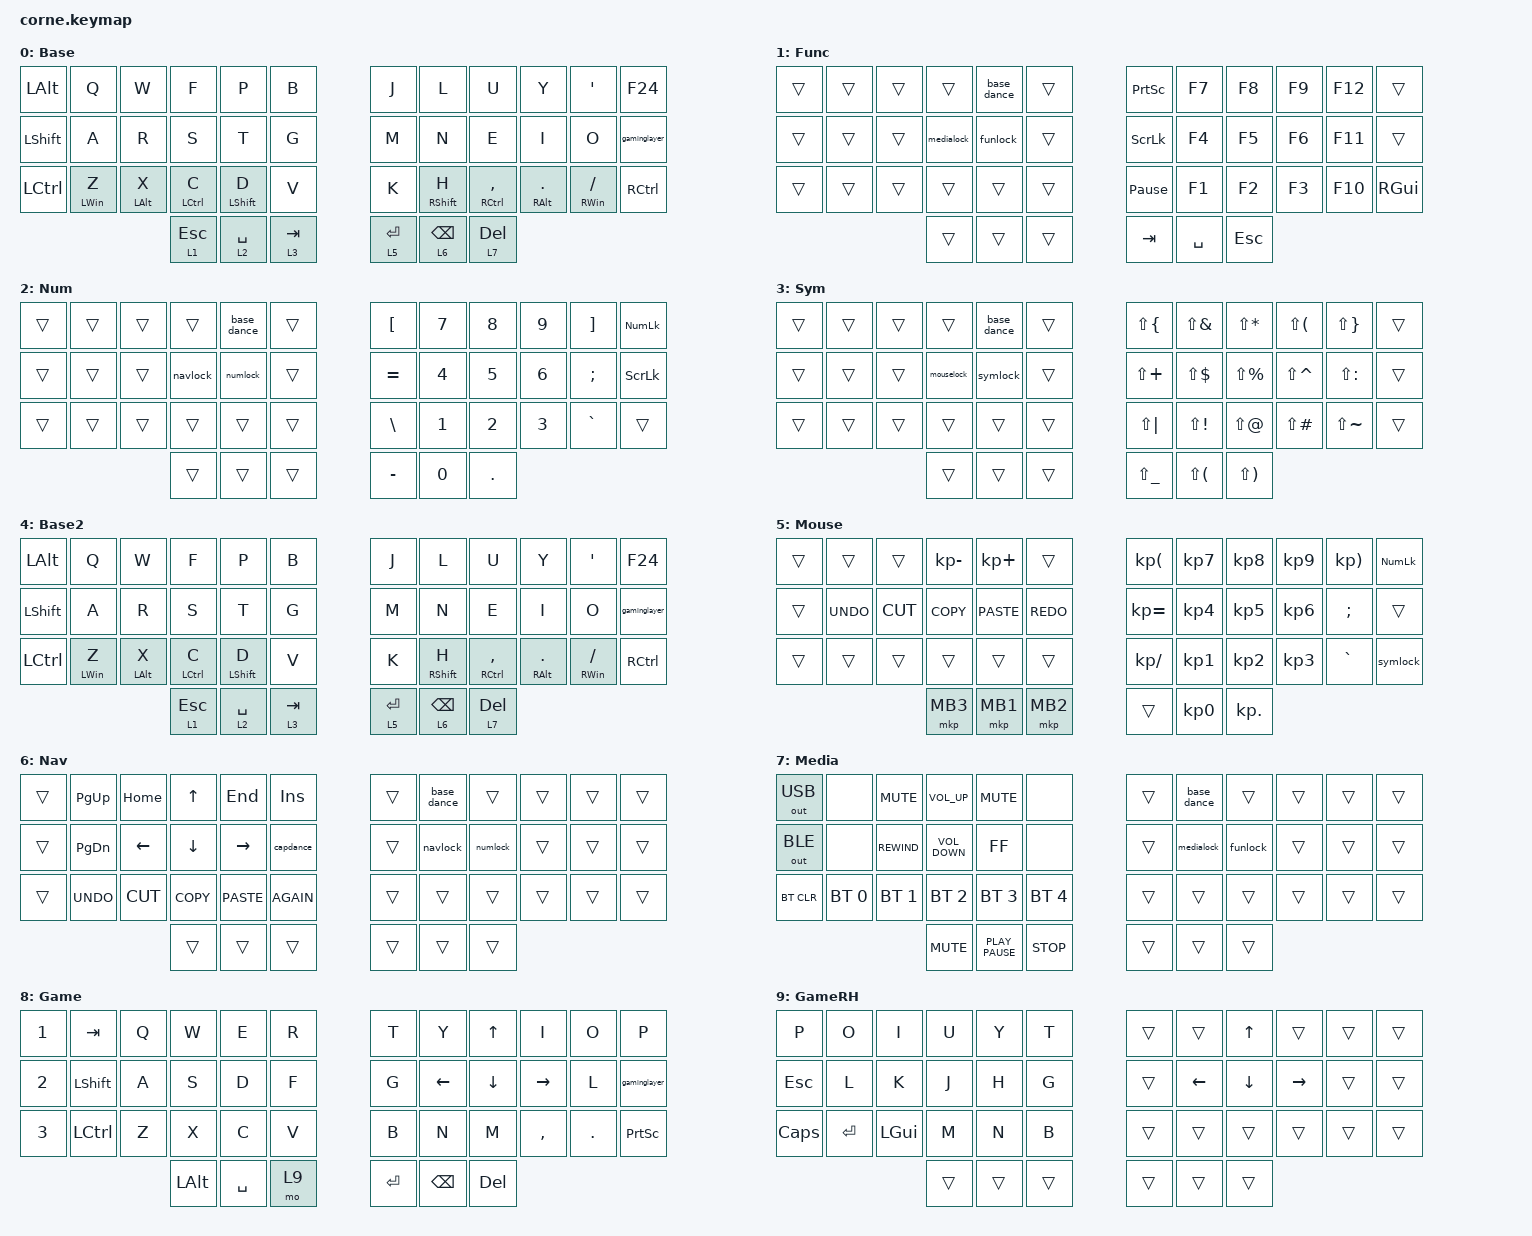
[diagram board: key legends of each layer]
#include <behaviors.dtsi>
#include <dt-bindings/zmk/bt.h>
#include <dt-bindings/zmk/keys.h>
#include <dt-bindings/zmk/mouse.h>
#include <dt-bindings/zmk/outputs.h>
#include <dt-bindings/zmk/rgb.h>

// dt-formatter: indent = "  "
// dt-formatter: multilineIntegerCellsIndent = "reindent"
// dt-formatter: multilineListCommaStyle = "leading"

&sk { /delete-property/ ignore-modifiers; };

/ {
  combos {
    compatible = "zmk,combos";

    caps_word {
      key-positions = <17 18>;
      bindings = <&caps_word>;
    };

    disconnect0 {
      bindings = <&bt BT_DISC 0>;
      key-positions = <25 19>;
      layers = <7>;
    };

    disconnect1 {
      bindings = <&bt BT_DISC 1>;
      key-positions = <19 26>;
      layers = <7>;
    };
  };

  macros {
    greeting: greeting {
      compatible = "zmk,behavior-macro";
      #binding-cells = <0>;
      label = "greeting";
      bindings = <&kp H &kp E &kp L &kp L &kp O>;
    };

    rgblayer: rgb_layer {
      compatible = "zmk,behavior-macro-two-param";
      #binding-cells = <2>;
      label = "MOMENTARY_LAYER_WITH_RGB_COLOR";
      bindings
        = <&macro_param_2to2 &rgb_ug RGB_COLOR_HSB_CMD MACRO_PLACEHOLDER &macro_param_1to1>
        , <&macro_press>
        , <&mo MACRO_PLACEHOLDER>
        , <&macro_pause_for_release>
        , <&macro_release>
        , <&macro_param_1to1 &mo MACRO_PLACEHOLDER>
        , <&macro_tap>
        , <&rgb_ug RGB_TOG>
        ;
    };

    shift: with_lshift {
      compatible = "zmk,behavior-macro-one-param";
      #binding-cells = <1>;
      label = "KEY_PRESS_WITH_LEFT_SHIFT_MODIFIER";
      bindings
        = <&macro_press>
        , <&kp LSHFT>
        , <&macro_tap>
        , <&macro_param_1to1 &kp MACRO_PLACEHOLDER>
        , <&macro_release>
        , <&kp LSHFT>
        ;
    };

    as: autoshift {
      compatible = "zmk,behavior-macro-one-param";
      #binding-cells = <1>;
      label = "AUTOSHIFT_KEYPRESS";
      bindings
        = <&macro_press>
        , <&macro_param_1to1 &macro_param_1to2 &as_ht MACRO_PLACEHOLDER MACRO_PLACEHOLDER>
        , <&macro_pause_for_release>
        , <&macro_release>
        , <&macro_param_1to1 &macro_param_1to2 &as_ht MACRO_PLACEHOLDER MACRO_PLACEHOLDER>
        ;
    };
  };

  behaviors {
    as_ht: autoshift_hold_tap {
      compatible = "zmk,behavior-hold-tap";
      #binding-cells = <2>;
      label = "AUTOSHIFT_HOLD_TAP";
      bindings = <&shift>, <&kp>;

      tapping-term-ms = <190>;
    };

    hml: homewrow_mods_left {
      compatible = "zmk,behavior-hold-tap";
      #binding-cells = <2>;
      label = "HOMEROW_MODS_LEFT_HAND";
      bindings = <&kp>, <&kp>;

      tapping-term-ms = <200>;
      hold-trigger-key-positions = <6 7 8 9 10 11 18 19 20 21 22 23 30 31 32 33 34 35 39 40 41>;
    };

    hmr: homewrow_mods_right {
      compatible = "zmk,behavior-hold-tap";
      #binding-cells = <2>;
      label = "HOMEROW_MODS_RIGHT_HAND";
      bindings = <&kp>, <&kp>;

      tapping-term-ms = <200>;
      hold-trigger-key-positions = <0 1 2 3 4 5 12 13 14 15 16 17 24 25 26 27 28 29 36 37 38>;
    };

    capdance: capdance {
      compatible = "zmk,behavior-tap-dance";
      label = "CAPDANCE";
      #binding-cells = <0>;
      bindings = <&caps_word>, <&kp CAPS>;
    };

    volknob: volume_encoder {
      compatible = "zmk,behavior-sensor-rotate";
      label = "ENCODER_VOLUME_KNOB";
      #sensor-binding-cells = <0>;
      bindings = <&kp C_VOL_UP>, <&kp C_VOL_DN>;
    };

    rgbknob: rgb_encoder {
      compatible = "zmk,behavior-sensor-rotate-var";
      label = "ENCODER_RGB";
      #sensor-binding-cells = <2>;
      bindings = <&rgb_ug>, <&rgb_ug>;
    };

    base_dance: base_dance {
      compatible = "zmk,behavior-tap-dance";
      label = "BASE_DANCE";
      #binding-cells = <0>;
      bindings = <&trans>, <&to 0>;
    };

    funlock: funlock {
      compatible = "zmk,behavior-tap-dance";
      label = "FUNLOCK";
      #binding-cells = <0>;
      bindings = <&trans>, <&tog 1>;
    };

    numlock: numlock {
      compatible = "zmk,behavior-tap-dance";
      label = "NUMLOCK";
      #binding-cells = <0>;
      bindings = <&trans>, <&tog 2>;
    };

    symlock: symlock {
      compatible = "zmk,behavior-tap-dance";
      label = "SYMLOCK";
      #binding-cells = <0>;
      bindings = <&trans>, <&tog 3>;
    };

    mouselock: mouselock {
      compatible = "zmk,behavior-tap-dance";
      label = "MOUSELOCK";
      #binding-cells = <0>;
      bindings = <&trans>, <&tog 5>;
    };

    navlock: navlock {
      compatible = "zmk,behavior-tap-dance";
      label = "NAVLOCK";
      #binding-cells = <0>;
      bindings = <&trans>, <&tog 6>;
    };

    medialock: medialock {
      compatible = "zmk,behavior-tap-dance";
      label = "MEDIALOCK";
      #binding-cells = <0>;
      bindings = <&trans>, <&tog 7>;
    };

    gaminglayer: gaminglayer {
      compatible = "zmk,behavior-tap-dance";
      label = "GAMINGLAYER";
      #binding-cells = <0>;
      bindings = <&to 0>, <&to 8>;
    };

    tph: tph {
      compatible = "zmk,behavior-hold-tap";
      label = "TPH";
      bindings = <&kp>, <&kp>;

      #binding-cells = <2>;
      tapping-term-ms = <140>;
      flavor = "tap-preferred";
    };
  };

  conditional_layers { compatible = "zmk,conditional-layers"; };

  keymap {
    compatible = "zmk,keymap";

    Base {
      label = "Base";
      bindings = <
        &kp LALT   &kp Q            &kp W            &kp F                &kp P          &kp B        &kp J        &kp L            &kp U                     &kp Y               &kp SQT         &kp F24
        &kp LSHFT  &kp A            &kp R            &kp S                &kp T          &kp G        &kp M        &kp N            &kp E                     &kp I               &kp O           &gaminglayer
        &kp LCTRL  &tph LEFT_WIN Z  &tph LEFT_ALT X  &tph LEFT_CONTROL C  &tph LSHIFT D  &kp V        &kp K        &tph RSHIFT H    &tph RIGHT_CONTROL COMMA  &tph RIGHT_ALT DOT  &tph RWIN FSLH  &kp RCTRL
                                                     &lt 1 ESC            &lt 2 SPACE    &lt 3 TAB    &lt 5 ENTER  &lt 6 BACKSPACE  &lt 7 DEL
      >;
    };

    Fun {
      label = "Func";
      bindings = <
        &trans  &trans  &trans  &trans      &base_dance  &trans    &kp PRINTSCREEN  &kp F7     &kp F8   &kp F9  &kp F12  &trans
        &trans  &trans  &trans  &medialock  &funlock     &trans    &kp SCROLLLOCK   &kp F4     &kp F5   &kp F6  &kp F11  &trans
        &trans  &trans  &trans  &trans      &trans       &trans    &kp PAUSE_BREAK  &kp F1     &kp F2   &kp F3  &kp F10  &kp RGUI
                                &trans      &trans       &trans    &kp TAB          &kp SPACE  &kp ESC
      >;
    };

    Num {
      label = "Num";
      bindings = <
        &trans  &trans  &trans  &trans    &base_dance  &trans    &kp LBKT   &kp N7  &kp N8   &kp N9  &kp RBKT   &kp KP_NUMLOCK
        &trans  &trans  &trans  &navlock  &numlock     &trans    &kp EQUAL  &kp N4  &kp N5   &kp N6  &kp SEMI   &kp SCROLLLOCK
        &trans  &trans  &trans  &trans    &trans       &trans    &kp BSLH   &kp N1  &kp N2   &kp N3  &kp GRAVE  &trans
                                &trans    &trans       &trans    &kp MINUS  &kp N0  &kp DOT
      >;
    };

    Sym {
      label = "Sym";
      bindings = <
        &trans  &trans  &trans  &trans      &base_dance  &trans    &kp LS(LBRC)   &kp LS(AMPS)  &kp LS(STAR)   &kp LS(LPAR)   &kp LS(RBRC)   &trans
        &trans  &trans  &trans  &mouselock  &symlock     &trans    &kp LS(PLUS)   &kp LS(DLLR)  &kp LS(PRCNT)  &kp LS(CARET)  &kp LS(COLON)  &trans
        &trans  &trans  &trans  &trans      &trans       &trans    &kp LS(PIPE)   &kp LS(EXCL)  &kp LS(AT)     &kp LS(POUND)  &kp LS(TILDE)  &trans
                                &trans      &trans       &trans    &kp LS(UNDER)  &kp LS(LPAR)  &kp LS(RPAR)
      >;
    };

    Base2 {
      label = "Base2";
      bindings = <
        &kp LALT   &kp Q            &kp W            &kp F                &kp P          &kp B        &kp J        &kp L            &kp U                     &kp Y               &kp SQT         &kp F24
        &kp LSHFT  &kp A            &kp R            &kp S                &kp T          &kp G        &kp M        &kp N            &kp E                     &kp I               &kp O           &gaminglayer
        &kp LCTRL  &tph LEFT_WIN Z  &tph LEFT_ALT X  &tph LEFT_CONTROL C  &tph LSHIFT D  &kp V        &kp K        &tph RSHIFT H    &tph RIGHT_CONTROL COMMA  &tph RIGHT_ALT DOT  &tph RWIN FSLH  &kp RCTRL
                                                     &lt 1 ESC            &lt 2 SPACE    &lt 3 TAB    &lt 5 ENTER  &lt 6 BACKSPACE  &lt 7 DEL
      >;
    };

    Mouse {
      label = "Mouse";
      bindings = <
        &trans  &trans      &trans     &kp KP_MINUS  &kp KP_PLUS  &trans        &kp KP_LEFT_PARENTHESIS  &kp KP_N7  &kp KP_N8   &kp KP_N9  &kp KP_RIGHT_PARENTHESIS  &kp KP_NUM
        &trans  &kp K_UNDO  &kp K_CUT  &kp K_COPY    &kp K_PASTE  &kp K_REDO    &kp KP_EQUAL             &kp KP_N4  &kp KP_N5   &kp KP_N6  &kp SEMI                  &trans
        &trans  &trans      &trans     &trans        &trans       &trans        &kp KP_SLASH             &kp KP_N1  &kp KP_N2   &kp KP_N3  &kp GRAVE                 &symlock
                                       &mkp MB3      &mkp MB1     &mkp MB2      &trans                   &kp KP_N0  &kp KP_DOT
      >;
    };

    Nav {
      label = "Nav";
      bindings = <
        &trans  &kp PG_UP   &kp HOME   &kp UP      &kp END      &kp INSERT     &trans  &base_dance  &trans    &trans  &trans  &trans
        &trans  &kp PG_DN   &kp LEFT   &kp DOWN    &kp RIGHT    &capdance      &trans  &navlock     &numlock  &trans  &trans  &trans
        &trans  &kp K_UNDO  &kp K_CUT  &kp K_COPY  &kp K_PASTE  &kp K_AGAIN    &trans  &trans       &trans    &trans  &trans  &trans
                                       &trans      &trans       &trans         &trans  &trans       &trans
      >;
    };

    Media {
      label = "Media";
      bindings = <
        &out OUT_USB  &none         &kp K_MUTE    &kp C_VOL_UP       &kp K_MUTE        &none           &trans  &base_dance  &trans    &trans  &trans  &trans
        &out OUT_BLE  &none         &kp C_REWIND  &kp C_VOLUME_DOWN  &kp C_FF          &none           &trans  &medialock   &funlock  &trans  &trans  &trans
        &bt BT_CLR    &bt BT_SEL 0  &bt BT_SEL 1  &bt BT_SEL 2       &bt BT_SEL 3      &bt BT_SEL 4    &trans  &trans       &trans    &trans  &trans  &trans
                                                  &kp K_MUTE         &kp K_PLAY_PAUSE  &kp K_STOP      &trans  &trans       &trans
      >;
    };

    gaming {
      label = "Game";
      bindings = <
        &kp N1  &kp TAB    &kp Q  &kp W         &kp E      &kp R    &kp T      &kp Y          &kp UP    &kp I      &kp O    &kp P
        &kp N2  &kp LSHFT  &kp A  &kp S         &kp D      &kp F    &kp G      &kp LEFT       &kp DOWN  &kp RIGHT  &kp L    &gaminglayer
        &kp N3  &kp LCTRL  &kp Z  &kp X         &kp C      &kp V    &kp B      &kp N          &kp M     &kp COMMA  &kp DOT  &kp PRINTSCREEN
                                  &kp LEFT_ALT  &kp SPACE  &mo 9    &kp ENTER  &kp BACKSPACE  &kp DEL
      >;
    };

    gaming_rh_on_left {
      bindings = <
        &kp P     &kp O      &kp I     &kp U   &kp Y   &kp T     &trans  &trans    &kp UP    &trans     &trans  &trans
        &kp ESC   &kp L      &kp K     &kp J   &kp H   &kp G     &trans  &kp LEFT  &kp DOWN  &kp RIGHT  &trans  &trans
        &kp CAPS  &kp ENTER  &kp LGUI  &kp M   &kp N   &kp B     &trans  &trans    &trans    &trans     &trans  &trans
                                       &trans  &trans  &trans    &trans  &trans    &trans
      >;

      label = "GameRH";
    };
  };
};
